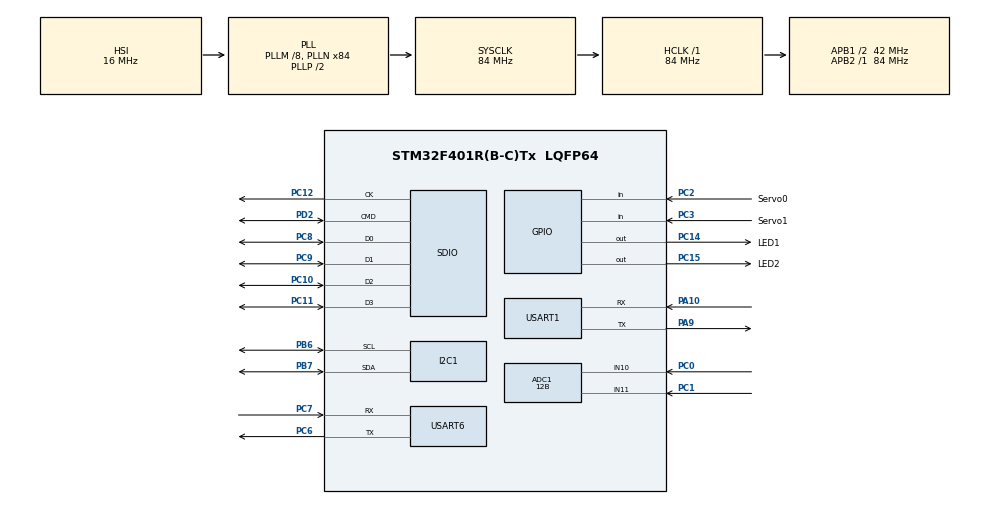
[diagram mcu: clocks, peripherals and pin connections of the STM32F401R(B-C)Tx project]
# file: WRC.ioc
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ADC1.Channel-4\#ChannelRegularConversion=ADC_CHANNEL_10
ADC1.Channel-5\#ChannelRegularConversion=ADC_CHANNEL_11
ADC1.ClockPrescaler=ADC_CLOCK_SYNC_PCLK_DIV4
ADC1.ContinuousConvMode=ENABLE
ADC1.DMAContinuousRequests=ENABLE
ADC1.DataAlign=ADC_DATAALIGN_RIGHT
ADC1.DiscontinuousConvMode=DISABLE
ADC1.EOCSelection=ADC_EOC_SINGLE_CONV
ADC1.EnableAnalogWatchDog=false
ADC1.ExternalTrigConv=ADC_SOFTWARE_START
ADC1.ExternalTrigConvEdge=ADC_EXTERNALTRIGCONVEDGE_NONE
ADC1.InjNumberOfConversion=0
ADC1.NbrOfConversion=2
ADC1.NbrOfConversionFlag=1
ADC1.Rank-4\#ChannelRegularConversion=1
ADC1.Rank-5\#ChannelRegularConversion=2
ADC1.Resolution=ADC_RESOLUTION_12B
ADC1.SamplingTime-4\#ChannelRegularConversion=ADC_SAMPLETIME_3CYCLES
ADC1.SamplingTime-5\#ChannelRegularConversion=ADC_SAMPLETIME_3CYCLES
ADC1.ScanConvMode=ENABLE
ADC1.master=1
Dma.ADC1.0.Direction=DMA_PERIPH_TO_MEMORY
Dma.ADC1.0.FIFOMode=DMA_FIFOMODE_DISABLE
Dma.ADC1.0.Instance=DMA2_Stream0
Dma.ADC1.0.MemDataAlignment=DMA_MDATAALIGN_HALFWORD
Dma.ADC1.0.MemInc=DMA_MINC_ENABLE
Dma.ADC1.0.Mode=DMA_CIRCULAR
Dma.ADC1.0.PeriphDataAlignment=DMA_PDATAALIGN_HALFWORD
Dma.ADC1.0.PeriphInc=DMA_PINC_DISABLE
Dma.ADC1.0.Priority=DMA_PRIORITY_LOW
Dma.Request0=ADC1
I2C1.I2C_Mode=I2C_Fast
Mcu.Family=STM32F4
Mcu.Name=STM32F401R(B-C)Tx
Mcu.Package=LQFP64
NVIC.DMA2_Stream0_IRQn=true\:0\:0\:false\:false\:true
NVIC.PriorityGroup=NVIC_PRIORITYGROUP_4
NVIC.USART6_IRQn=true\:0\:0\:false\:false\:true
PA10.Mode=Asynchronous
PA10.Signal=USART1_RX
PA13.Mode=Serial_Wire
PA13.Signal=SYS_JTMS-SWDIO
PA14.Mode=Serial_Wire
PA14.Signal=SYS_JTCK-SWCLK
PA9.Mode=Asynchronous
PA9.Signal=USART1_TX
PB6.Mode=I2C
PB6.Signal=I2C1_SCL
PB7.Mode=I2C
PB7.Signal=I2C1_SDA
PC0.Signal=ADCx_IN10
PC1.Signal=ADCx_IN11
PC10.GPIO_PuPd=GPIO_PULLUP
PC10.Mode=SD_4_bits_Wide_bus
PC10.Signal=SDIO_D2
PC11.GPIO_PuPd=GPIO_PULLUP
PC11.Mode=SD_4_bits_Wide_bus
PC11.Signal=SDIO_D3
PC12.GPIO_PuPd=GPIO_PULLUP
PC12.Mode=SD_4_bits_Wide_bus
PC12.Signal=SDIO_CK
PC14-OSC32_IN.GPIO_Label=LED1
PC14-OSC32_IN.Signal=GPIO_Output
PC15-OSC32_OUT.GPIO_Label=LED2
PC15-OSC32_OUT.Signal=GPIO_Output
PC2.GPIO_Label=Servo0
PC2.Signal=GPIO_Input
PC3.GPIO_Label=Servo1
PC3.Signal=GPIO_Input
PC6.Mode=Asynchronous
PC6.Signal=USART6_TX
PC7.Mode=Asynchronous
PC7.Signal=USART6_RX
PC8.GPIO_PuPd=GPIO_PULLUP
PC8.Mode=SD_4_bits_Wide_bus
PC8.Signal=SDIO_D0
PC9.GPIO_PuPd=GPIO_PULLUP
PC9.Mode=SD_4_bits_Wide_bus
PC9.Signal=SDIO_D1
PD2.GPIO_PuPd=GPIO_PULLUP
PD2.Mode=SD_4_bits_Wide_bus
PD2.Signal=SDIO_CMD
ProjectManager.HeapSize=0x200
ProjectManager.StackSize=0x400
ProjectManager.TargetToolchain=TrueSTUDIO
RCC.48MHZClocksFreq_Value=42000000
RCC.AHBFreq_Value=84000000
RCC.APB1CLKDivider=RCC_HCLK_DIV2
RCC.APB1Freq_Value=42000000
RCC.APB1TimFreq_Value=84000000
RCC.APB2Freq_Value=84000000
RCC.APB2TimFreq_Value=84000000
RCC.CortexFreq_Value=84000000
RCC.HCLKFreq_Value=84000000
RCC.HSE_VALUE=25000000
RCC.HSI_VALUE=16000000
RCC.LSE_VALUE=32768
RCC.PLLM=8
RCC.PLLN=84
RCC.SYSCLKFreq_VALUE=84000000
RCC.SYSCLKSource=RCC_SYSCLKSOURCE_PLLCLK
RCC.VCOOutputFreq_Value=168000000
SDIO.ClockDiv=5
SH.ADCx_IN10.0=ADC1_IN10,IN10
SH.ADCx_IN11.0=ADC1_IN11,IN11
TIM1.Period=65535
TIM1.Prescaler=84
USART1.VirtualMode=VM_ASYNC
USART6.VirtualMode=VM_ASYNC
VP_FATFS_VS_SDIO.Mode=SDIO
VP_TIM1_VS_ClockSourceINT.Mode=Internal
board=WRC

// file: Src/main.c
/**
  ******************************************************************************
  * File Name          : main.c
  * Description        : Main program body
  ******************************************************************************
  * This notice applies to any and all portions of this file
  * that are not between comment pairs USER CODE BEGIN and
  * USER CODE END. Other portions of this file, whether
  * inserted by the user or by software development tools
  * are owned by their respective copyright owners.
  *
  * Copyright (c) 2017 STMicroelectronics International N.V.
  * All rights reserved.
  *
  * Redistribution and use in source and binary forms, with or without
  * modification, are permitted, provided that the following conditions are met:
  *
  * 1. Redistribution of source code must retain the above copyright notice,
  *    this list of conditions and the following disclaimer.
  * 2. Redistributions in binary form must reproduce the above copyright notice,
  *    this list of conditions and the following disclaimer in the documentation
  *    and/or other materials provided with the distribution.
  * 3. Neither the name of STMicroelectronics nor the names of other
  *    contributors to this software may be used to endorse or promote products
  *    derived from this software without specific written permission.
  * 4. This software, including modifications and/or derivative works of this
  *    software, must execute solely and exclusively on microcontroller or
  *    microprocessor devices manufactured by or for STMicroelectronics.
  * 5. Redistribution and use of this software other than as permitted under
  *    this license is void and will automatically terminate your rights under
  *    this license.
  *
  * THIS SOFTWARE IS PROVIDED BY STMICROELECTRONICS AND CONTRIBUTORS "AS IS"
  * AND ANY EXPRESS, IMPLIED OR STATUTORY WARRANTIES, INCLUDING, BUT NOT
  * LIMITED TO, THE IMPLIED WARRANTIES OF MERCHANTABILITY, FITNESS FOR A
  * PARTICULAR PURPOSE AND NON-INFRINGEMENT OF THIRD PARTY INTELLECTUAL PROPERTY
  * RIGHTS ARE DISCLAIMED TO THE FULLEST EXTENT PERMITTED BY LAW. IN NO EVENT
  * SHALL STMICROELECTRONICS OR CONTRIBUTORS BE LIABLE FOR ANY DIRECT, INDIRECT,
  * INCIDENTAL, SPECIAL, EXEMPLARY, OR CONSEQUENTIAL DAMAGES (INCLUDING, BUT NOT
  * LIMITED TO, PROCUREMENT OF SUBSTITUTE GOODS OR SERVICES; LOSS OF USE, DATA,
  * OR PROFITS; OR BUSINESS INTERRUPTION) HOWEVER CAUSED AND ON ANY THEORY OF
  * LIABILITY, WHETHER IN CONTRACT, STRICT LIABILITY, OR TORT (INCLUDING
  * NEGLIGENCE OR OTHERWISE) ARISING IN ANY WAY OUT OF THE USE OF THIS SOFTWARE,
  * EVEN IF ADVISED OF THE POSSIBILITY OF SUCH DAMAGE.
  *
  ******************************************************************************
  */
#include "main.h"
#include "stm32f4xx_hal.h"
#include "fatfs.h"

/* USER CODE BEGIN Includes */
#include "I2C.h"
#define UART_DEBUG	0	//取得したデータををUARTで送信するかどうか 0:送信しない 1:送信する　（初期化中は常に送信） 0の時はSDカードに記録はしない
#define WIRELESS 1		//無線で制御するかどうか	0:制御しない 1:制御する
#define WRC_VERSION 1.0 //バージョン
#define P0 1013.25		//海面気圧

/* USER CODE END Includes */

ADC_HandleTypeDef hadc1;
DMA_HandleTypeDef hdma_adc1;

I2C_HandleTypeDef hi2c1;

SD_HandleTypeDef hsd;

TIM_HandleTypeDef htim1;

UART_HandleTypeDef huart1;
UART_HandleTypeDef huart6;

/* USER CODE BEGIN PV */
/* Private variables ---------------------------------------------------------*/

/* USER CODE END PV */

void SystemClock_Config(void);
static void MX_GPIO_Init(void);
static void MX_DMA_Init(void);
static void MX_SDIO_SD_Init(void);
static void MX_ADC1_Init(void);
static void MX_USART6_UART_Init(void);
static void MX_I2C1_Init(void);
static void MX_USART1_UART_Init(void);
static void MX_TIM1_Init(void);

/* USER CODE BEGIN PFP */
/* Private function prototypes -----------------------------------------------*/

/* USER CODE END PFP */

/* USER CODE BEGIN 0 */
uint32_t g_ADCValue;
int g_MeasurementNumber;
#define  ADC_BUFFER_LENGTH 20
uint16_t g_ADCBuffer[ADC_BUFFER_LENGTH];

uint8_t uart_rx_data;
uint8_t control_state = 0;

void HAL_UART_RxCpltCallback(UART_HandleTypeDef *huart6)
{
	control_state = 1;
	if (uart_rx_data == 'R')control_state = 100;
	if (uart_rx_data == 'S')control_state = 101;
	if (uart_rx_data == 'H')control_state = 102;

}

/* USER CODE END 0 */

int main(void)
{

  /* USER CODE BEGIN 1 */
	char    str[1024];
	int tx_buf[I2C_BUF_SIZE] = { 0x00 }, rx_buf[I2C_BUF_SIZE] = { 0x00 };
	uint8_t pData;

  /* USER CODE END 1 */

  /* MCU Configuration----------------------------------------------------------*/

  /* Reset of all peripherals, Initializes the Flash interface and the Systick. */
	HAL_Init();

	      /* Configure the system clock */
	SystemClock_Config();

	      /* Initialize all configured peripherals */
	MX_GPIO_Init();
	MX_DMA_Init();
	MX_SDIO_SD_Init();
	MX_ADC1_Init();
	MX_USART6_UART_Init();
	MX_I2C1_Init();
	MX_USART1_UART_Init();
	MX_FATFS_Init();
	MX_TIM1_Init();

	  /* USER CODE BEGIN 2 */
	HAL_Delay(500);
	sprintf(str, "%WRC \r\n");
	HAL_UART_Transmit(&huart1, str, strlen(str), 0x00FF);
	sprintf(str, "\033[49m\033[36m\033[2J\033[0;0H");
	HAL_UART_Transmit(&huart6, str, strlen(str), 0x00FF);
	HAL_Delay(500);
	sprintf(str, "Water rocket computer Ver%3.2f\n\033[39m", WRC_VERSION);
	HAL_UART_Transmit(&huart6, str, strlen(str), 0x00FF); HAL_Delay(120);
	sprintf(str, "\033[39mSystem Initializing.");
	HAL_UART_Transmit(&huart6, str, strlen(str), 0x00FF); HAL_Delay(120);
	//ADC設定
	uint32_t adcValue = 0;
	uint32_t volt = 0;
	ADC_ChannelConfTypeDef sConfig;
	memset(g_ADCBuffer, 0, sizeof(g_ADCBuffer));
	HAL_ADC_Start_DMA(&hadc1, g_ADCBuffer, ADC_BUFFER_LENGTH);
	HAL_ADC_Stop_DMA(&hadc1);
	sprintf(str, "."); HAL_UART_Transmit(&huart6, str, strlen(str), 0x00FF);

	//AK8963起動
	pData = 0x00; HAL_I2C_Mem_Write(&hi2c1, MPU9250_WRITE, MPU9250_PWR_MGMT_1, 1, &pData, 1, 100);
	pData = 0x02; HAL_I2C_Mem_Write(&hi2c1, MPU9250_WRITE, MPU9250_INT_PIN_CFG, 1, &pData, 1, 100);

	//MPU9250設定
	pData = 0b00001000; HAL_I2C_Mem_Write(&hi2c1, MPU9250_WRITE, MPU9250_GYRO_CONFIG, 1, &pData, 1, 100);//±500dps		43   00:±250 01:±500 10:±1000 11:±2000
	pData = 0b00011000; HAL_I2C_Mem_Write(&hi2c1, MPU9250_WRITE, MPU9250_ACCEL_CONFIG, 1, &pData, 1, 100);//±16G

	//AK8963設定
	pData = 0b00010110; HAL_I2C_Mem_Write(&hi2c1, AK8963_WRITE, AK8963_CNTL1, 1, &pData, 1, 100);//連続測定モード 100Hz

	//LPS25H設定
	pData = 0b11000000; HAL_I2C_Mem_Write(&hi2c1, LPS25H_WRITE, LPS25H_CTRL_REG1, 1, &pData, 1, 100);//25Hz

	//ADXL375設定
	pData = 0x08; HAL_I2C_Mem_Write(&hi2c1, ADXL375_WRITE, ADXL375_POWER_CTL, 1, &pData, 1, 100);//スリープ解除
	pData = 0x0B; HAL_I2C_Mem_Write(&hi2c1, ADXL375_WRITE, ADXL375_DATA_FORMAT, 1, &pData, 1, 100);//データ右詰め
	pData = 0b00001010; HAL_I2C_Mem_Write(&hi2c1, ADXL375_WRITE, ADXL375_BW_RATE, 1, &pData, 1, 100);//100Hz
	sprintf(str, "."); HAL_UART_Transmit(&huart6, str, strlen(str), 0x00FF); HAL_Delay(120);

	sprintf(str, "Done\n");
	HAL_UART_Transmit(&huart6, str, strlen(str), 0x00FF); HAL_Delay(120);

	//Who am I
	HAL_I2C_Mem_Read(&hi2c1, LPS25H_READ, LPS25H_WHO_AM_I, 1, &pData, 1, 100);
	sprintf(str, "\r\nLPS25H  = 0x%02X \r\n", pData);
	HAL_UART_Transmit(&huart1, str, strlen(str), 0x00FF);

	HAL_I2C_Mem_Read(&hi2c1, MPU9250_READ, MPU9250_WHO_AM_I, 1, &pData, 1, 100);
	sprintf(str, "MPU9250 = 0x%02X \r\n", pData);
	HAL_UART_Transmit(&huart1, str, strlen(str), 0x00FF);

	HAL_I2C_Mem_Read(&hi2c1, AK8963_READ, AK8963_WIA, 1, &pData, 1, 100);
	sprintf(str, "AK8963  = 0x%02X \r\n", pData);
	HAL_UART_Transmit(&huart1, str, strlen(str), 0x00FF);

	HAL_I2C_Mem_Read(&hi2c1, ADXL375_READ, ADXL375_DEVID, 1, &pData, 1, 100);
	sprintf(str, "ADXL375 = 0x%02X \r\n", pData);
	HAL_UART_Transmit(&huart1, str, strlen(str), 0x00FF);

	sprintf(str, "System self test Start..");
	HAL_UART_Transmit(&huart1, str, strlen(str), 0x00FF);
	HAL_UART_Transmit(&huart6, str, strlen(str), 0x00FF); HAL_Delay(120);

	//セルフテスト
	while (1) {
		HAL_I2C_Mem_Read(&hi2c1, LPS25H_READ, LPS25H_WHO_AM_I, 1, &pData, 1, 100);
		if (pData != 0xBD)continue;
		HAL_I2C_Mem_Read(&hi2c1, MPU9250_READ, MPU9250_WHO_AM_I, 1, &pData, 1, 100);
		if (pData != 0x71)continue;
		HAL_I2C_Mem_Read(&hi2c1, AK8963_READ, AK8963_WIA, 1, &pData, 1, 100);
		if (pData != 0x48)continue;
		HAL_I2C_Mem_Read(&hi2c1, ADXL375_READ, ADXL375_DEVID, 1, &pData, 1, 100);
		if (pData != 0xE5)continue;
		//if (g_ADCBuffer[0] == 0)continue;
		//if (g_ADCBuffer[1] == 0)continue;
		HAL_Delay(250);
		sprintf(str, ".");
		HAL_UART_Transmit(&huart1, str, strlen(str), 0x00FF);
		HAL_UART_Transmit(&huart6, str, strlen(str), 0x00FF);
		HAL_Delay(250);
		break;
	}
	sprintf(str, "Successful\n");
	HAL_UART_Transmit(&huart1, str, strlen(str), 0x00FF);
	HAL_UART_Transmit(&huart6, str, strlen(str), 0x00FF);

	sprintf(str, "SD card Initializing...");
	HAL_UART_Transmit(&huart6, str, strlen(str), 0x00FF); HAL_Delay(120);

	HAL_TIM_Base_Start(&htim1);
	HAL_Delay(1000);

#if ( UART_DEBUG ==0 )

	//SDカード初期化
	FRESULT res;
	FATFS fs;
	DIR dir;
	FIL fil;
	char buf[128];
	int ret;
	const int MAX_FILE = 100;
	unsigned int c = 0;
	//SDカードを初期化できるまで待つ
	do {
		res = f_mount(&fs, "", 1);
		if (res != FR_OK) {
			sprintf(str, "f_mount() : error %u\n", res);
			HAL_UART_Transmit(&huart1, str, strlen(str), 0x00FF);
			sprintf(str, "\033[5;0H\033[41m\033[2Kf_mount() : error %u", res);
			HAL_UART_Transmit(&huart6, str, strlen(str), 0x00FF); HAL_Delay(120);
		}

		res = f_opendir(&dir, "");
		if (res != FR_OK) {
			sprintf(str, "f_opendir() : error %u\n", res);
			HAL_UART_Transmit(&huart1, str, strlen(str), 0x00FF);
			sprintf(str, "\033[6;0H\033[41m\033[2Kf_opendir() : error %u", res);
			HAL_UART_Transmit(&huart6, str, strlen(str), 0x00FF); HAL_Delay(120);
		}
		HAL_Delay(800);
	} while (res != FR_OK);
	sprintf(str, "\033[5;0H\033[49m\033[2K");
	HAL_UART_Transmit(&huart6, str, strlen(str), 0x00FF); HAL_Delay(120);
	sprintf(str, "\033[6;0H\033[49m\033[2K");
	HAL_UART_Transmit(&huart6, str, strlen(str), 0x00FF); HAL_Delay(120);
	sprintf(str, "\033[4;26H\033[49mSuccessful\n");
	HAL_UART_Transmit(&huart6, str, strlen(str), 0x00FF);

	//新しいファイルを作成
	for (c = 0; c < MAX_FILE; c++) {
		sprintf(str, "%d.csv", c);
		res = f_open(&fil, str, FA_CREATE_NEW | FA_WRITE);
		if (res == FR_OK) {
			sprintf(str, "f_open() : %d.csv\n", c);
			HAL_UART_Transmit(&huart1, str, strlen(str), 0x00FF);
			sprintf(str, "\033[5;0H\033[49m\033[39m\033[2KFile Name : %d.csv", c);
			HAL_UART_Transmit(&huart6, str, strlen(str), 0x00FF); HAL_Delay(120);
			break;
		}
		if (c == MAX_FILE - 1) {
			res = f_open(&fil, "_.csv", FA_CREATE_ALWAYS | FA_WRITE);
			if (res != FR_OK) {
				sprintf(str, "f_open() : error %u\n\n", res);
				HAL_UART_Transmit(&huart1, str, strlen(str), 0x00FF);
				sprintf(str, "\033[5;0H\033[41m\033[2Kf_open() : error %u", res);
				HAL_UART_Transmit(&huart6, str, strlen(str), 0x00FF); HAL_Delay(120);
			} else {
				sprintf(str, "f_open() : _.csv \n");
				HAL_UART_Transmit(&huart1, str, strlen(str), 0x00FF);
				sprintf(str, "\033[5;0H\033[49m\033[39m\033[2KFile Name : _.csv");
				HAL_UART_Transmit(&huart6, str, strlen(str), 0x00FF); HAL_Delay(120);
			}
		}
	}
	HAL_GPIO_WritePin(LED1_GPIO_Port, LED1_Pin, GPIO_PIN_SET);	//緑点灯　SD初期化完了

	sprintf(str, "dt[ns],press[hPa],temp[deg celsius],ax[m/s^2],ay[m/s^2],az[m/s^2],gx[deg/s],gy[deg/s],gz[deg/s],mx,my,mz,Ax[m/s^2],Ay[m/s^2],Az[m/s^2],servo,V,I\n");
	ret = f_puts(str, &fil);
	if (ret == EOF) {
		sprintf(str, "f_puts() : error\n\n");
		HAL_UART_Transmit(&huart1, str, strlen(str), 0x00FF);

	}
	f_sync(&fil);

#if (WIRELESS ==0 )
	HAL_GPIO_TogglePin(LED2_GPIO_Port, LED2_Pin);
	HAL_Delay(1000);
	HAL_GPIO_TogglePin(LED2_GPIO_Port, LED2_Pin);
	HAL_Delay(5000);
	HAL_GPIO_TogglePin(LED2_GPIO_Port, LED2_Pin);
#endif
	sprintf(str, "\033[6;0H\033[49m\033[39m\033[2K R:Start\n S:Stop \n H:Set the current altitude to 0 m");
	HAL_UART_Transmit(&huart6, str, strlen(str), 0x00FF); HAL_Delay(120);
#if (WIRELESS ==1 )
	HAL_UART_Receive_IT(&huart6, (uint8_t *)&uart_rx_data, 1);
	while (1) {

		if (control_state != 0)HAL_UART_Receive_IT(&huart6, (uint8_t *)&uart_rx_data, 1);
		if (control_state == 100)break;
	}
#endif
#endif

  /* USER CODE END 2 */

  /* Infinite loop */
  /* USER CODE BEGIN WHILE */
	int t = 0, n = 0;
	TIM1->CNT = 0;
	double height, height_offset =0;
	while (1) {
	/* USER CODE END WHILE */

	  /* USER CODE BEGIN 3 */
		uint8_t data[18], servo;
		uint32_t	press;
		int16_t	temp, ax, ay, az, gx, gy, gz, mx, my, mz, Ax, Ay, Az;
		double	press_d, temp_d, ax_d, ay_d, az_d, gx_d, gy_d, gz_d, mx_d, my_d, mz_d, Ax_d, Ay_d, Az_d;

		//気圧
		press = 0;
		HAL_I2C_Mem_Read(&hi2c1, LPS25H_READ, LPS25H_PRESS_OUT_H, 1, &data, 1, 100);
		press   = data[0] << 16;
		HAL_I2C_Mem_Read(&hi2c1, LPS25H_READ, LPS25H_PRESS_OUT_L, 1, &data, 1, 100);
		press   |= data[0] << 8;
		HAL_I2C_Mem_Read(&hi2c1, LPS25H_READ, LPS25H_PRESS_OUT_XL, 1, &data, 1, 100);
		press   |= data[0];
		press_d = (double)press / 4096.0;

		//気温
		HAL_I2C_Mem_Read(&hi2c1, LPS25H_READ, LPS25H_TEMP_OUT_H, 1, &data, 1, 100);
		temp   = data[0] << 8;
		HAL_I2C_Mem_Read(&hi2c1, LPS25H_READ, LPS25H_TEMP_OUT_L, 1, &data, 1, 100);
		temp   |= data[0];
		temp_d = (double)temp / 480 + 42.5;

		//9軸センサ
		HAL_I2C_Mem_Read(&hi2c1, MPU9250_READ, MPU9250_ACCEL_XOUT_H, 1, &data, 14, 100);
		ax = (data[0]  << 8) | data[1];
		ay = (data[2]  << 8) | data[3];
		az = (data[4]  << 8) | data[5];
		gx = (data[8]  << 8) | data[9];
		gy = (data[10] << 8) | data[11];
		gz = (data[12] << 8) | data[13];

		HAL_I2C_Mem_Read(&hi2c1, AK8963_READ, AK8963_HXL, 1, &data, 7, 100);
		my = data[0] | (data[1]  << 8);
		mx = data[2] | (data[3]  << 8);
		mz = data[4] | (data[5]  << 8);
		mx *= -1;
		my *= -1;
		mz *= -1;

		ax_d = (double)ax *GRAVITY * 0.488 / 1000* (-1.0);
		ay_d = (double)ay *GRAVITY * 0.488 / 1000* (-1.0);
		az_d = (double)az *GRAVITY * 0.488 / 1000;
		gx_d = (double)gx * 0.01526* (-1.0);
		gy_d = (double)gy * 0.01526* (-1.0);
		gz_d = (double)gz * 0.01526;

		//加速度センサ
		HAL_I2C_Mem_Read(&hi2c1, ADXL375_READ, ADXL375_DATAX0, 1, &data, 6, 100);
		Ax = data[0] | (data[1]  << 8);
		Ay = data[2] | (data[3]  << 8);
		Az = data[4] | (data[5]  << 8);
		Ax_d = (double)Ax *GRAVITY * 49 / 1000* (-1.0);
		Ay_d = (double)Ay *GRAVITY * 49 / 1000* (-1.0);
		Az_d = (double)Az *GRAVITY * 49 / 1000;

		//サーボ
		servo = 0;
		if (HAL_GPIO_ReadPin(Servo0_GPIO_Port, Servo0_Pin) == GPIO_PIN_SET)servo |= 0x01;
		if (HAL_GPIO_ReadPin(Servo1_GPIO_Port, Servo1_Pin) == GPIO_PIN_SET)servo |= 0x02;

#if ( UART_DEBUG ==1 )
			  //UART送信
		sprintf(str, "%f, %f  ", press_d, temp_d);
		HAL_UART_Transmit(&huart1, str, strlen(str), 0x00FF);
		sprintf(str, " %+3.8f , %+3.8f , %+3.8f ,, %+3.8f , %+3.8f , %+3.8f ,%+4d,%+4d,%+4d  ,", ax_d, ay_d, az_d, gx_d, gy_d, gz_d, mx, my, mz);
		HAL_UART_Transmit(&huart1, str, strlen(str), 0x00FF);
		sprintf(str, " %+3.8f , %+3.8f , %+3.8f,", Ax_d, Ay_d, Az_d);
		HAL_UART_Transmit(&huart1, str, strlen(str), 0x00FF);
		sprintf(str, "%d", servo);
		HAL_UART_Transmit(&huart1, str, strlen(str), 0x00FF);
		sprintf(str, "   %d  %d", g_ADCBuffer[0], g_ADCBuffer[1]);
		HAL_UART_Transmit(&huart1, str, strlen(str), 0x00FF);
		sprintf(str, "\r\n");
		HAL_UART_Transmit(&huart1, str, strlen(str), 0x00FF);
#endif

			 //地上からの制御を処理する
#if (WIRELESS ==1 )
		if (control_state != 0) {
			HAL_UART_Receive_IT(&huart6, (uint8_t *)&uart_rx_data, 1);
		 }
		if (control_state == 101) {
			control_state = 0;
			break;
		}
		if (control_state == 102) {
			control_state = 0;
			height_offset = height;
		 }
		if (n == 20){
			height = (((pow(P0 / press_d, 1 / 5.257) - 1)*(temp_d+273.15))/0.0065) - height_offset ;
		}
		if (n == 30) {
			sprintf(str, "\033[10;0H\033[49m\033[33m\033[2K %.1fm", height);
			HAL_UART_Transmit(&huart6, str, strlen(str), 0x00FF);
		}
		if (n == 40) {
			sprintf(str, "\033[30m ,%f,%f,%f,%f,%f,%f,%d,%d,%d\n",
				Ax_d,
				Ay_d,
				Az_d,
				gx_d,
				gy_d,
				gz_d,
				servo,
				g_ADCBuffer[0],
				g_ADCBuffer[1]);
			HAL_UART_Transmit(&huart6, str, strlen(str), 0x00FF);
		}

#endif

#if ( UART_DEBUG ==0 )

		while (TIM1->CNT < 10000)
			;// 1/100sたつまで待つ
		t = TIM1->CNT;
		TIM1->CNT = 0;//タイマーを0にする
		sprintf(str,
			"%d,%f,%f,%f,%f,%f,%f,%f,%f,%d,%d,%d,%f,%f,%f,%d,%d,%d\n",
			t,
			press_d,
			temp_d,
			ax_d,
			ay_d,
			az_d,
			gx_d,
			gy_d,
			gz_d,
			mx,
			my,
			mz,
			Ax_d,
			Ay_d,
			Az_d,
			servo,
			g_ADCBuffer[0],
			g_ADCBuffer[1]);

		n++;
		HAL_ADC_Stop_DMA(&hadc1);
		ret = f_puts(str, &fil);
		if (ret == EOF) {
			sprintf(str, "f_puts() : error \n");
			HAL_UART_Transmit(&huart1, str, strlen(str), 0x00FF);
		}
		if (n == 50) {

			ret = f_sync(&fil);
			if (ret == FR_OK)HAL_GPIO_TogglePin(LED2_GPIO_Port, LED2_Pin);
			n = 0;

		}
		HAL_ADC_Start_DMA(&hadc1, g_ADCBuffer, ADC_BUFFER_LENGTH);

#endif

	}
	/* USER CODE END 3 */
	HAL_ADC_Stop_DMA(&hadc1);
#if ( UART_DEBUG ==0 )
	f_sync(&fil);
#endif

	sprintf(str,"\033[13;0H\033[49m\033[39m\033[2KRecording stop\nPlease turn off the power.");
	HAL_UART_Transmit(&huart6, str, strlen(str), 0x00FF); HAL_Delay(120);
}

/** System Clock Configuration
*/
void SystemClock_Config(void)
{

	RCC_OscInitTypeDef RCC_OscInitStruct;
	RCC_ClkInitTypeDef RCC_ClkInitStruct;

	    /**Configure the main internal regulator output voltage
	    */
	__HAL_RCC_PWR_CLK_ENABLE();

	__HAL_PWR_VOLTAGESCALING_CONFIG(PWR_REGULATOR_VOLTAGE_SCALE2);

	    /**Initializes the CPU, AHB and APB busses clocks
	    */
	RCC_OscInitStruct.OscillatorType = RCC_OSCILLATORTYPE_HSI;
	RCC_OscInitStruct.HSIState = RCC_HSI_ON;
	RCC_OscInitStruct.HSICalibrationValue = 16;
	RCC_OscInitStruct.PLL.PLLState = RCC_PLL_ON;
	RCC_OscInitStruct.PLL.PLLSource = RCC_PLLSOURCE_HSI;
	RCC_OscInitStruct.PLL.PLLM = 8;
	RCC_OscInitStruct.PLL.PLLN = 84;
	RCC_OscInitStruct.PLL.PLLP = RCC_PLLP_DIV2;
	RCC_OscInitStruct.PLL.PLLQ = 4;
	if (HAL_RCC_OscConfig(&RCC_OscInitStruct) != HAL_OK) {
		_Error_Handler(__FILE__, __LINE__);
	}

	    /**Initializes the CPU, AHB and APB busses clocks
	    */
	RCC_ClkInitStruct.ClockType = RCC_CLOCKTYPE_HCLK | RCC_CLOCKTYPE_SYSCLK
	                            | RCC_CLOCKTYPE_PCLK1 | RCC_CLOCKTYPE_PCLK2;
	RCC_ClkInitStruct.SYSCLKSource = RCC_SYSCLKSOURCE_PLLCLK;
	RCC_ClkInitStruct.AHBCLKDivider = RCC_SYSCLK_DIV1;
	RCC_ClkInitStruct.APB1CLKDivider = RCC_HCLK_DIV2;
	RCC_ClkInitStruct.APB2CLKDivider = RCC_HCLK_DIV1;

	if (HAL_RCC_ClockConfig(&RCC_ClkInitStruct, FLASH_LATENCY_2) != HAL_OK) {
		_Error_Handler(__FILE__, __LINE__);
	}

	    /**Configure the Systick interrupt time
	    */
	HAL_SYSTICK_Config(HAL_RCC_GetHCLKFreq() / 1000);

	    /**Configure the Systick
	    */
	HAL_SYSTICK_CLKSourceConfig(SYSTICK_CLKSOURCE_HCLK);

	  /* SysTick_IRQn interrupt configuration */
	HAL_NVIC_SetPriority(SysTick_IRQn, 0, 0);
}

/* ADC1 init function */
static void MX_ADC1_Init(void)
{

	ADC_ChannelConfTypeDef sConfig;

	    /**Configure the global features of the ADC (Clock, Resolution, Data Alignment and number of conversion)
	    */
	hadc1.Instance = ADC1;
	hadc1.Init.ClockPrescaler = ADC_CLOCK_SYNC_PCLK_DIV4;
	hadc1.Init.Resolution = ADC_RESOLUTION_12B;
	hadc1.Init.ScanConvMode = ENABLE;
	hadc1.Init.ContinuousConvMode = ENABLE;
	hadc1.Init.DiscontinuousConvMode = DISABLE;
	hadc1.Init.ExternalTrigConvEdge = ADC_EXTERNALTRIGCONVEDGE_NONE;
	hadc1.Init.ExternalTrigConv = ADC_SOFTWARE_START;
	hadc1.Init.DataAlign = ADC_DATAALIGN_RIGHT;
	hadc1.Init.NbrOfConversion = 2;
	hadc1.Init.DMAContinuousRequests = ENABLE;
	hadc1.Init.EOCSelection = ADC_EOC_SINGLE_CONV;
	if (HAL_ADC_Init(&hadc1) != HAL_OK) {
		_Error_Handler(__FILE__, __LINE__);
	}

	    /**Configure for the selected ADC regular channel its corresponding rank in the sequencer and its sample time.
	    */
	sConfig.Channel = ADC_CHANNEL_10;
	sConfig.Rank = 1;
	sConfig.SamplingTime = ADC_SAMPLETIME_3CYCLES;
	if (HAL_ADC_ConfigChannel(&hadc1, &sConfig) != HAL_OK) {
		_Error_Handler(__FILE__, __LINE__);
	}

	    /**Configure for the selected ADC regular channel its corresponding rank in the sequencer and its sample time.
	    */
	sConfig.Channel = ADC_CHANNEL_11;
	sConfig.Rank = 2;
	if (HAL_ADC_ConfigChannel(&hadc1, &sConfig) != HAL_OK) {
		_Error_Handler(__FILE__, __LINE__);
	}

}

/* I2C1 init function */
static void MX_I2C1_Init(void)
{

	hi2c1.Instance = I2C1;
	hi2c1.Init.ClockSpeed = 400000;
	hi2c1.Init.DutyCycle = I2C_DUTYCYCLE_2;
	hi2c1.Init.OwnAddress1 = 0;
	hi2c1.Init.AddressingMode = I2C_ADDRESSINGMODE_7BIT;
	hi2c1.Init.DualAddressMode = I2C_DUALADDRESS_DISABLE;
	hi2c1.Init.OwnAddress2 = 0;
	hi2c1.Init.GeneralCallMode = I2C_GENERALCALL_DISABLE;
	hi2c1.Init.NoStretchMode = I2C_NOSTRETCH_DISABLE;
	if (HAL_I2C_Init(&hi2c1) != HAL_OK) {
		_Error_Handler(__FILE__, __LINE__);
	}

}

/* SDIO init function */
static void MX_SDIO_SD_Init(void)
{

	hsd.Instance = SDIO;
	hsd.Init.ClockEdge = SDIO_CLOCK_EDGE_RISING;
	hsd.Init.ClockBypass = SDIO_CLOCK_BYPASS_DISABLE;
	hsd.Init.ClockPowerSave = SDIO_CLOCK_POWER_SAVE_DISABLE;
	hsd.Init.BusWide = SDIO_BUS_WIDE_1B;
	hsd.Init.HardwareFlowControl = SDIO_HARDWARE_FLOW_CONTROL_DISABLE;
	hsd.Init.ClockDiv = 5;

}

/* TIM1 init function */
static void MX_TIM1_Init(void)
{

	TIM_ClockConfigTypeDef sClockSourceConfig;
	TIM_MasterConfigTypeDef sMasterConfig;

	htim1.Instance = TIM1;
	htim1.Init.Prescaler = 84;
	htim1.Init.CounterMode = TIM_COUNTERMODE_UP;
	htim1.Init.Period = 65535;
	htim1.Init.ClockDivision = TIM_CLOCKDIVISION_DIV1;
	htim1.Init.RepetitionCounter = 0;
	if (HAL_TIM_Base_Init(&htim1) != HAL_OK) {
		_Error_Handler(__FILE__, __LINE__);
	}

	sClockSourceConfig.ClockSource = TIM_CLOCKSOURCE_INTERNAL;
	if (HAL_TIM_ConfigClockSource(&htim1, &sClockSourceConfig) != HAL_OK) {
		_Error_Handler(__FILE__, __LINE__);
	}

	sMasterConfig.MasterOutputTrigger = TIM_TRGO_RESET;
	sMasterConfig.MasterSlaveMode = TIM_MASTERSLAVEMODE_DISABLE;
	if (HAL_TIMEx_MasterConfigSynchronization(&htim1, &sMasterConfig) != HAL_OK) {
		_Error_Handler(__FILE__, __LINE__);
	}

}

/* USART1 init function */
static void MX_USART1_UART_Init(void)
{

	huart1.Instance = USART1;
	huart1.Init.BaudRate = 115200;
	huart1.Init.WordLength = UART_WORDLENGTH_8B;
	huart1.Init.StopBits = UART_STOPBITS_1;
	huart1.Init.Parity = UART_PARITY_NONE;
	huart1.Init.Mode = UART_MODE_TX_RX;
	huart1.Init.HwFlowCtl = UART_HWCONTROL_NONE;
	huart1.Init.OverSampling = UART_OVERSAMPLING_16;
	if (HAL_UART_Init(&huart1) != HAL_OK) {
		_Error_Handler(__FILE__, __LINE__);
	}

}

/* USART6 init function */
static void MX_USART6_UART_Init(void)
{

	huart6.Instance = USART6;
	huart6.Init.BaudRate = 115200;
	huart6.Init.WordLength = UART_WORDLENGTH_8B;
	huart6.Init.StopBits = UART_STOPBITS_1;
	huart6.Init.Parity = UART_PARITY_NONE;
	huart6.Init.Mode = UART_MODE_TX_RX;
	huart6.Init.HwFlowCtl = UART_HWCONTROL_NONE;
	huart6.Init.OverSampling = UART_OVERSAMPLING_16;
	if (HAL_UART_Init(&huart6) != HAL_OK) {
		_Error_Handler(__FILE__, __LINE__);
	}

}

static void MX_DMA_Init(void)
{
  /* DMA controller clock enable */
	__HAL_RCC_DMA2_CLK_ENABLE();

	  /* DMA interrupt init */
	  /* DMA2_Stream0_IRQn interrupt configuration */
	HAL_NVIC_SetPriority(DMA2_Stream0_IRQn, 0, 0);
	HAL_NVIC_EnableIRQ(DMA2_Stream0_IRQn);

}

/** Configure pins as
        * Analog
        * Input
        * Output
        * EVENT_OUT
        * EXTI
*/
static void MX_GPIO_Init(void)
{

	GPIO_InitTypeDef GPIO_InitStruct;

	  /* GPIO Ports Clock Enable */
	__HAL_RCC_GPIOC_CLK_ENABLE();
	__HAL_RCC_GPIOA_CLK_ENABLE();
	__HAL_RCC_GPIOD_CLK_ENABLE();
	__HAL_RCC_GPIOB_CLK_ENABLE();

	  /*Configure GPIO pin Output Level */
	HAL_GPIO_WritePin(GPIOC, LED1_Pin | LED2_Pin, GPIO_PIN_RESET);

	  /*Configure GPIO pins : LED1_Pin LED2_Pin */
	GPIO_InitStruct.Pin = LED1_Pin | LED2_Pin;
	GPIO_InitStruct.Mode = GPIO_MODE_OUTPUT_PP;
	GPIO_InitStruct.Pull = GPIO_NOPULL;
	GPIO_InitStruct.Speed = GPIO_SPEED_FREQ_LOW;
	HAL_GPIO_Init(GPIOC, &GPIO_InitStruct);

	  /*Configure GPIO pins : Servo0_Pin Servo1_Pin */
	GPIO_InitStruct.Pin = Servo0_Pin | Servo1_Pin;
	GPIO_InitStruct.Mode = GPIO_MODE_INPUT;
	GPIO_InitStruct.Pull = GPIO_NOPULL;
	HAL_GPIO_Init(GPIOC, &GPIO_InitStruct);

}

void _Error_Handler(char * file, int line)
{
	while (1) {
	}
}

/************************ (C) COPYRIGHT STMicroelectronics *****END OF FILE****/
